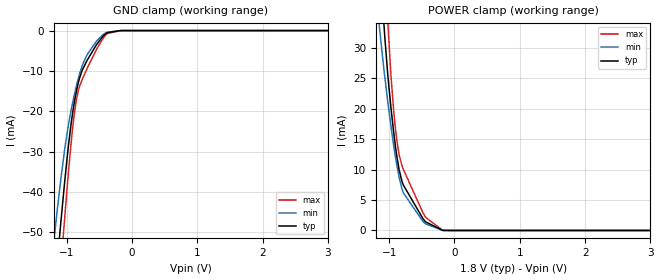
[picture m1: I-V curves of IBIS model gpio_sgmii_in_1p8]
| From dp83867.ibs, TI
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|   gpio_sgmii_in_1p8 Model
[Model]   gpio_sgmii_in_1p8
Model_type   Input
Vinl = 0.36
Vinh = 1.26
|   typ   min   max
|   (nom PVT)   (fast PVT)   (slow PVT)
C_comp   6.977E-12   4.760E-12   9.454E-12
[Model spec]
|subparameter
Vinl   0.36   0.342   0.378
Vinh   1.26   1.197   1.323
| Where nom  PVT is Nominal Process, 1.8V, 27C
|   Fast PVT is Strong Process,  1.89V, -40C
|   Slow PVT is Weak Process,   1.71V, 125C
[Voltage Range]   1.8   1.71   1.89
|Junction Temperature
[Temperature Range]   27   125   -40
[Power Clamp Reference]   1.8   1.71   1.89
[GND Clamp Reference]   0   0   0
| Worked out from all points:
|   GND clamp passes 1 mA (typ) near -0.42 V on its own axis
[GND Clamp]
|   Voltage   I(typ)   I(min)   I(max)
-1.8V     -186.6mA   -154mA     -218.8mA
-1.182V   -64.62mA   -50.26mA   -78.93mA
-1.138V   -56.53mA   -43.79mA   -69.4mA
-1.087V   -47.4mA    -36.72mA   -58.52mA
-1.029V   -37.38mA   -29.39mA   -46.32mA
-916.2mV  -21.38mA   -18.53mA   -25.52mA
-865.8mV  -16.36mA   -14.8mA    -18.77mA
-825.3mV  -13.24mA   -12.15mA   -15.23mA
-680.4mV  -7.222mA   -5.824mA   -9.205mA
-421.2mV  -1.038mA   -765.5uA   -1.465mA
-180mV    -7.766uA   -11.74uA   -7.832uA
3.6V      0A         0A         0A
[POWER Clamp]
|   Voltage   I(typ)   I(min)   I(max)
-1.8V     203.1mA    153.5mA    253.9mA
-1.15V    46.67mA    33.7mA     65.95mA
-1.076V   33.43mA    26.18mA    47.11mA
-1.016V   25.02mA    20.76mA    33.44mA
-968.4mV  19.81mA    16.88mA    24.94mA
-928.7mV  16.03mA    13.87mA    19.54mA
-887.1mV  12.6mA     11.04mA    15.25mA
-847.8mV  10.02mA    8.783mA    12.47mA
-783.2mV  7.484mA    6.207mA    10.06mA
-441.1mV  1.416mA    1.083mA    2.163mA
-180mV    11.51uA    22.62uA    16.64uA
3.6V      0A         0A         0A
